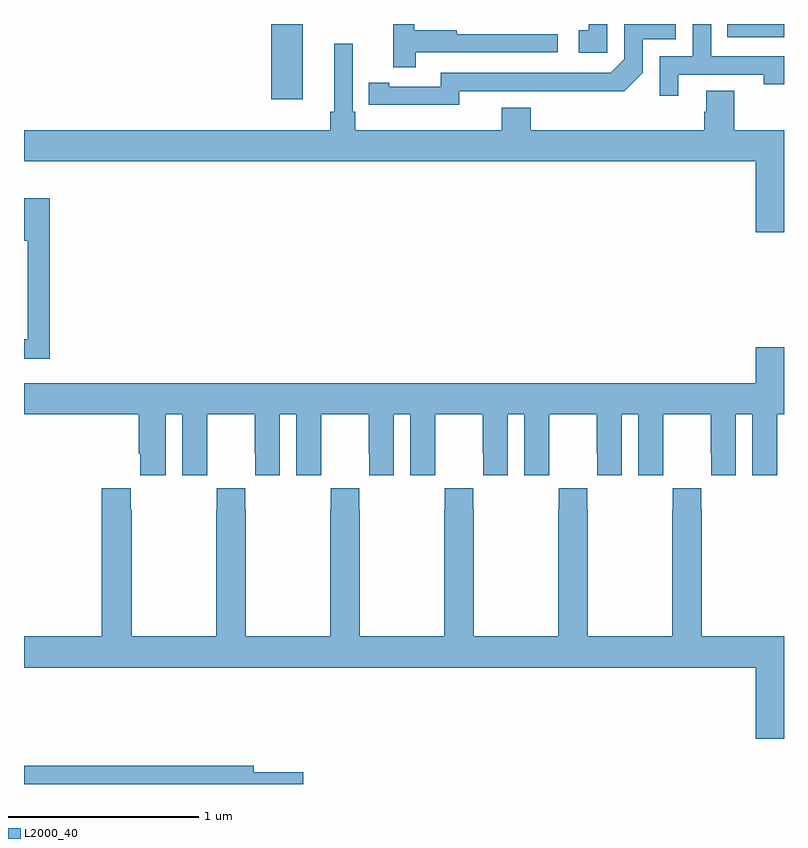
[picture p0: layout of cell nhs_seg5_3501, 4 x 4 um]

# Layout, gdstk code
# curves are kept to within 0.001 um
import gdstk
lib = gdstk.Library(unit=1e-6, precision=1e-09)
def R(c, l, rs):  # rectangles x0, y0, x1, y1
    for r in rs: c.add(gdstk.rectangle(r[:2], r[2:], *l))
def P(c, l, *ps):  # polygons
    for p in ps: c.add(gdstk.Polygon(p, *l))
L2000_40 = (2000, 40)

nhs_seg5_3501 = lib.new_cell('nhs_seg5_3501')
R(nhs_seg5_3501, L2000_40, [(318.302,874.404,318.466,874.799), (320.701,874.728,321,874.799)])
P(nhs_seg5_3501, L2000_40, [(320.07,874.799),(319.973,874.799),(319.973,874.767),(319.92,874.767),(319.92,874.647),(320.07,874.647)],
  [(319.29,874.446),(320.158,874.445),(320.256,874.542),(320.256,874.719),(320.43,874.719),(320.43,874.799),(320.16,874.799),(320.16,874.614),(320.088,874.542),(319.194,874.542),(319.194,874.47),(318.922,874.47),(318.922,874.49),(318.814,874.49),(318.814,874.374),(319.29,874.373)],
  [(319.061,874.65),(319.81,874.65),(319.81,874.746),(319.277,874.746),(319.277,874.766),(319.054,874.766),(319.054,874.799),(318.944,874.799),(318.944,874.572),(319.061,874.572)],
  [(320.443,874.533),(320.894,874.533),(320.894,874.482),(321,874.482),(321,874.629),(320.616,874.629),(320.616,874.799),(320.52,874.799),(320.52,874.629),(320.346,874.629),(320.346,874.422),(320.443,874.422)],
  [(321,874.24),(320.739,874.24),(320.739,874.448),(320.591,874.448),(320.591,874.338),(320.579,874.338),(320.579,874.24),(319.667,874.24),(319.667,874.357),(319.514,874.357),(319.514,874.24),(318.743,874.24),(318.743,874.336),(318.729,874.336),(318.729,874.696),(318.632,874.696),(318.632,874.336),(318.613,874.336),(318.613,874.24),(317,874.24),(317,874.076),(320.852,874.076),(320.852,873.702),(321,873.702)],
  [(317.135,873.883),(317,873.883),(317,873.657),(317.019,873.657),(317.019,873.141),(317,873.141),(317,873.036),(317.135,873.036)],
  [(317.746,872.744),(317.834,872.744),(317.834,872.424),(317.964,872.424),(317.964,872.536),(317.965,872.536),(317.965,872.744),(318.215,872.744),(318.215,872.536),(318.216,872.536),(318.216,872.424),(318.346,872.424),(318.346,872.744),(318.434,872.744),(318.434,872.424),(318.564,872.424),(318.564,872.536),(318.565,872.536),(318.565,872.744),(318.815,872.744),(318.815,872.536),(318.816,872.536),(318.816,872.424),(318.946,872.424),(318.946,872.744),(319.034,872.744),(319.034,872.424),(319.164,872.424),(319.164,872.536),(319.165,872.536),(319.165,872.744),(319.415,872.744),(319.415,872.536),(319.416,872.536),(319.416,872.424),(319.546,872.424),(319.546,872.744),(319.634,872.744),(319.634,872.424),(319.764,872.424),(319.764,872.536),(319.765,872.536),(319.765,872.744),(320.015,872.744),(320.015,872.536),(320.016,872.536),(320.016,872.424),(320.146,872.424),(320.146,872.744),(320.234,872.744),(320.234,872.424),(320.364,872.424),(320.364,872.536),(320.365,872.536),(320.365,872.744),(320.615,872.744),(320.615,872.536),(320.616,872.536),(320.616,872.424),(320.746,872.424),(320.746,872.744),(320.834,872.744),(320.834,872.424),(320.964,872.424),(320.964,872.536),(320.965,872.536),(320.965,872.744),(321,872.744),(321,873.097),(320.852,873.097),(320.852,872.908),(317,872.908),(317,872.744),(317.603,872.744),(317.603,872.536),(317.612,872.536),(317.612,872.424),(317.746,872.424)],
  [(321,871.576),(320.568,871.576),(320.568,872.243),(320.565,872.243),(320.565,872.356),(320.415,872.356),(320.415,872.243),(320.413,872.243),(320.413,871.576),(319.968,871.576),(319.968,872.243),(319.965,872.243),(319.965,872.356),(319.815,872.356),(319.815,872.243),(319.813,872.243),(319.813,871.576),(319.368,871.576),(319.368,872.243),(319.365,872.243),(319.365,872.356),(319.215,872.356),(319.215,872.243),(319.213,872.243),(319.213,871.576),(318.768,871.576),(318.768,872.243),(318.765,872.243),(318.765,872.356),(318.615,872.356),(318.615,872.243),(318.613,872.243),(318.613,871.576),(318.168,871.576),(318.168,872.243),(318.165,872.243),(318.165,872.356),(318.015,872.356),(318.015,872.243),(318.013,872.243),(318.013,871.576),(317.568,871.576),(317.568,872.243),(317.561,872.243),(317.561,872.356),(317.408,872.356),(317.408,871.576),(317,871.576),(317,871.412),(320.852,871.412),(320.852,871.038),(321,871.038)],
  [(318.469,870.86),(318.208,870.86),(318.208,870.896),(317,870.896),(317,870.799),(318.469,870.799)])

lib.write_gds('nhs_seg5_3501.gds')
